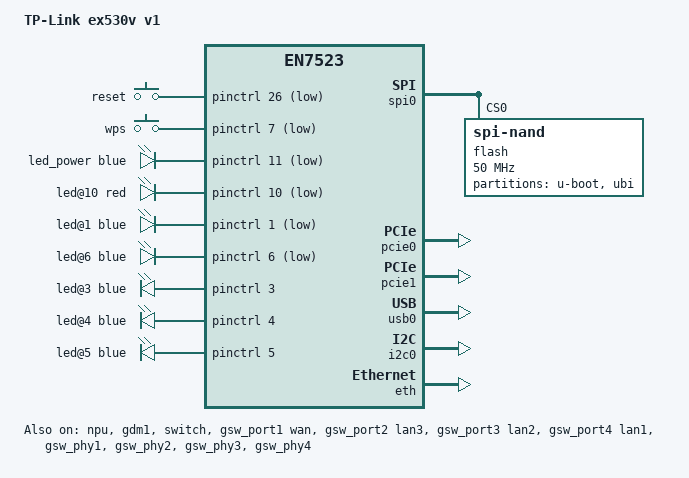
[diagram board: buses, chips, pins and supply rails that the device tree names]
/* SPDX-License-Identifier: GPL-2.0-or-later OR MIT */
/dts-v1/;

#include <dt-bindings/leds/common.h>
#include <dt-bindings/gpio/gpio.h>
#include <dt-bindings/input/input.h>
#include "en7523.dtsi"

/ {
	model = "TP-Link ex530v v1";
	compatible = "tplink,ex530v-v1", "airoha,en7523";

	chosen {
		rootdisk = <&firmware>;
		bootargs = "console=ttyS0,115200 earlycon ubi.block=0,fit root=/dev/fit0 rootwait";
		stdout-path = "serial0:115200n8";
	};

	aliases {
		serial0 = &uart1;
		led-boot = &led_power;
		led-failsafe = &led_power;
		led-upgrade = &led_power;
		led-running = &led_power;
	};

	keys {
		compatible = "gpio-keys-polled";
		poll-interval = <100>;

		reset {
			label = "reset";
			linux,code = <KEY_RESTART>;
			gpios = <&pinctrl 26 GPIO_ACTIVE_LOW>;
			debounce-interval = <60>;
		};

		wps {
			label = "wps";
			linux,code = <KEY_WPS_BUTTON>;
			gpios = <&pinctrl 7 GPIO_ACTIVE_LOW>;
			debounce-interval = <60>;
		};
	};

	leds {
		compatible = "gpio-leds";

		/* Power */
		led_power: led@11 {
			color = <LED_COLOR_ID_BLUE>;
			function = LED_FUNCTION_STATUS;
			function-enumerator = <11>;
			gpios = <&pinctrl 11 GPIO_ACTIVE_LOW>;
		};

		/* Internet Status - Red */
		led@10 {
			color = <LED_COLOR_ID_RED>;
			function = LED_FUNCTION_WAN;
			function-enumerator = <10>;
			gpios = <&pinctrl 10 GPIO_ACTIVE_LOW>;
		};

		/* Internet Status - Blue*/
		led@1 {
			color = <LED_COLOR_ID_BLUE>;
			function = LED_FUNCTION_WAN_ONLINE;
			function-enumerator = <1>;
			gpios = <&pinctrl 1 GPIO_ACTIVE_LOW>;
		};

		/* WIFI */
		led@6 {
			color = <LED_COLOR_ID_BLUE>;
			function = LED_FUNCTION_WLAN;
			function-enumerator = <6>;
			gpios = <&pinctrl 6 GPIO_ACTIVE_LOW>;
		};

		/* LAN */
		led@3 {
			color = <LED_COLOR_ID_BLUE>;
			function = LED_FUNCTION_LAN;
			function-enumerator = <3>;
			gpios = <&pinctrl 3 GPIO_ACTIVE_HIGH>;
		};

		/* USB */
		led@4 {
			color = <LED_COLOR_ID_BLUE>;
			function = LED_FUNCTION_USB;
			function-enumerator = <4>;
			gpios = <&pinctrl 4 GPIO_ACTIVE_HIGH>;
		};

		/* FXS1 */
		led@5 {
			color = <LED_COLOR_ID_BLUE>;
			function = LED_FUNCTION_STATUS;
			function-enumerator = <5>;
			gpios = <&pinctrl 5 GPIO_ACTIVE_HIGH>;
		};
	};
};

/*
Old maping NAND

	0x000000000000-0x000000080000 : "boot"
	0x000000080000-0x0000000c0000 : "romfile"
	0x0000000c0000-0x0000004c0000 : "misc" => 0x400000
	0x0000004c0000-0x000002cc0000 : "firmware"
	0x000002cc0000-0x0000054c0000 : "firmware_slave"
	0x000005940000-0x000005980000 : "reserve"
	0x000006000000-0x000012800000 : "container"

---------------------------------------------------------------------

New Maping:
	0x00000000-0x00100000 : BL1 + FIP (BL2 + BL31 + BL33)
	0x00100000-           : UBI (uboot env{1,2} + ART (misc part) + fit (firmware))
*/
&spi0 {
	flash@0 {
		reg = <0>;
		compatible = "spi-nand";
		spi-max-frequency = <50000000>;
		spi-tx-bus-width = <1>;
		spi-rx-bus-width = <2>;

		partitions {
			compatible = "fixed-partitions";
			#address-cells = <1>;
			#size-cells = <1>;

			partition@0 {
				label = "u-boot";
				reg = <0x00000000 0x00100000>;
				read-only;
			};

			partition@100000 {
				label = "ubi";
				compatible = "linux,ubi";
				reg = <0x00100000 0x0>;

				volumes {
					ubi-volume-ubootenv {
						volname = "ubootenv";
						nvmem-layout {
							compatible = "u-boot,env-redundant-bool";
						};
					};

					ubi-volume-ubootenv2 {
						volname = "ubootenv2";
						nvmem-layout {
							compatible = "u-boot,env-redundant-bool";
						};
					};

					ubi-volume-art {
						volname = "art";
						read-only;

						nvmem-layout {
							compatible = "fixed-layout";
							#address-cells = <1>;
							#size-cells = <1>;

							macaddr: macaddr@8f100 {
								#nvmem-cell-cells = <1>;
								compatible = "mac-base";
								reg = <0x8f100 0x6>;
							};

							eeprom0: eeprom@100000 {
								reg = <0x100000 0x1000>;
							};
						};
					};

					firmware: ubi-volume-firmware {
						volname = "fit";
						compatible = "denx,uimage";
					};
				};
			};
		};
	};
};

&pcie0 {
	status = "okay";
};

&pcie1 {
	status = "okay";

	pcie@1,0 {
		reg = <0x00000800 0 0 0 0>;
		#address-cells = <3>;
		#size-cells = <2>;

		mt7915@0,0 {
			reg = <0x0000 0 0 0 0>;
			#address-cells = <1>;
			#size-cells = <0>;
			nvmem-cells = <&eeprom0>;
			nvmem-cell-names = "eeprom";
			airoha,npu = <&npu>;
			airoha,eth = <&eth>;

			/* 2.4 GHz */
			band@0 {
				reg = <0>;
				nvmem-cells = <&macaddr 0>;
				nvmem-cell-names = "mac-address";
			};

			/* 5 GHz */
			band@1 {
				reg = <1>;
				nvmem-cells = <&macaddr 2>;
				nvmem-cell-names = "mac-address";
			};
		};
	};
};

&usb0 {
	status = "okay";
};

&i2c0 {
	status = "okay";
};

&npu {
	status = "okay";
};

&eth {
	status = "okay";
};

&gdm1 {
	status = "okay";

	nvmem-cells = <&macaddr 0>;
	nvmem-cell-names = "mac-address";
};

&switch {
	status = "okay";
};

&gsw_port1 {
	label = "wan";
	status = "okay";
};

&gsw_port2 {
	label = "lan3";
	status = "okay";
};

&gsw_port3 {
	label = "lan2";
	status = "okay";
};

&gsw_port4 {
	label = "lan1";
	status = "okay";
};

&gsw_port6 {
	nvmem-cells = <&macaddr 0>;
	nvmem-cell-names = "mac-address";
};

&gsw_phy1 {
	status = "okay";
};

&gsw_phy2 {
	status = "okay";
};

&gsw_phy3 {
	status = "okay";
};

&gsw_phy4 {
	status = "okay";
};
